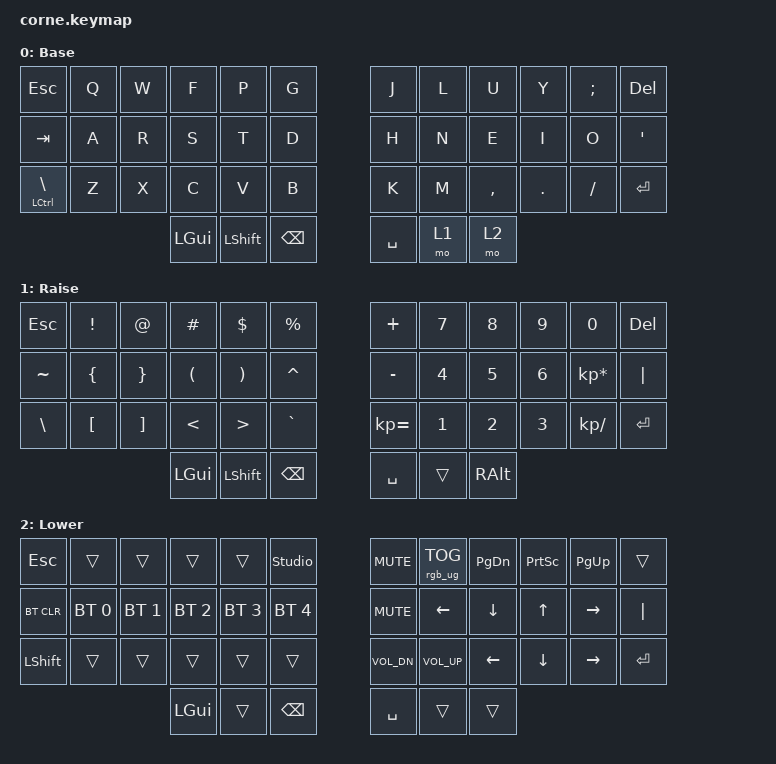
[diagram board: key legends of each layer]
/*
 * Copyright (c) 2020 The ZMK Contributors
 *
 * SPDX-License-Identifier: MIT
 */

#include <behaviors.dtsi>
#include <dt-bindings/zmk/bt.h>
#include <dt-bindings/zmk/keys.h>
#include <dt-bindings/zmk/rgb.h>

/ {
    keymap {
        compatible = "zmk,keymap";

        default_layer {
            // -----------------------------------------------------------------------------------------
            // |  TAB |  Q  |  W  |  E  |  R  |  T  |   |  Y  |  U   |  I  |  O  |  P  | BKSP |
            // | CTRL |  A  |  S  |  D  |  F  |  G  |   |  H  |  J   |  K  |  L  |  ;  |  '   |
            // | SHFT |  Z  |  X  |  C  |  V  |  B  |   |  N  |  M   |  ,  |  .  |  /  | ESC  |
            //                    | GUI | LWR | SPC |   | ENT | RSE  | ALT |

            display-name = "Base";
            bindings = <
&kp ESC                     &kp Q  &kp W  &kp F     &kp P           &kp G            &kp J      &kp L  &kp U      &kp Y       &kp SEMICOLON  &kp DELETE
&kp TAB                     &kp A  &kp R  &kp S     &kp T           &kp D            &kp H      &kp N  &kp E      &kp I       &kp O          &kp SQT
&mt LEFT_CONTROL BACKSLASH  &kp Z  &kp X  &kp C     &kp V           &kp B            &kp K      &kp M  &kp COMMA  &kp PERIOD  &kp SLASH      &kp ENTER
                                          &kp LGUI  &kp LEFT_SHIFT  &kp BACKSPACE    &kp SPACE  &mo 1  &mo 2
            >;
        };

        raise_layer {
            // -----------------------------------------------------------------------------------------
            // |  TAB |  !  |  @  |  #  |  $  |  %  |   |  ^  |  &  |  *  |  (  |  )  | BKSP |
            // | CTRL |     |     |     |     |     |   |  -  |  =  |  [  |  ]  |  \  |  `   |
            // | SHFT |     |     |     |     |     |   |  _  |  +  |  {  |  }  | "|" |  ~   |
            //                    | GUI |     | SPC |   | ENT |     | ALT |

            display-name = "Raise";
            bindings = <
&kp ESCAPE     &kp EXCL          &kp AT             &kp HASH              &kp DLLR               &kp PRCNT        &kp PLUS      &kp N7        &kp N8        &kp N9        &kp NUMBER_0     &kp DELETE
&kp TILDE      &kp LEFT_BRACE    &kp RIGHT_BRACE    &kp LEFT_PARENTHESIS  &kp RIGHT_PARENTHESIS  &kp CARET        &kp MINUS     &kp NUMBER_4  &kp N5        &kp NUMBER_6  &kp KP_ASTERISK  &kp PIPE
&kp BACKSLASH  &kp LEFT_BRACKET  &kp RIGHT_BRACKET  &kp LESS_THAN         &kp GREATER_THAN       &kp GRAVE        &kp KP_EQUAL  &kp NUMBER_1  &kp NUMBER_2  &kp NUMBER_3  &kp KP_DIVIDE    &kp RET
                                                    &kp LGUI              &kp LEFT_SHIFT         &kp BACKSPACE    &kp SPACE     &trans        &kp RALT
            >;
        };

        lower_layer {
            // -----------------------------------------------------------------------------------------
            // |  TAB |  1  |  2  |  3  |  4  |  5  |   |  6  |  7  |  8  |  9  |  0  | BKSP |
            // | BTCLR| BT1 | BT2 | BT3 | BT4 | BT5 |   | LFT | DWN |  UP | RGT |     |      |
            // | SHFT |     |     |     |     |     |   |     |     |     |     |     |      |
            //                    | GUI |     | SPC |   | ENT |     | ALT |

            display-name = "Lower";
            bindings = <
&kp ESCAPE  &trans        &trans        &trans        &trans        &studio_unlock    &kp C_MUTE    &rgb_ug RGB_TOG  &kp PAGE_DOWN   &kp PRINTSCREEN  &kp PAGE_UP  &trans
&bt BT_CLR  &bt BT_SEL 0  &bt BT_SEL 1  &bt BT_SEL 2  &bt BT_SEL 3  &bt BT_SEL 4      &kp C_MUTE    &kp LEFT         &kp DOWN        &kp UP_ARROW     &kp RIGHT    &kp PIPE
&kp LSHFT   &trans        &trans        &trans        &trans        &trans            &kp C_VOL_DN  &kp C_VOLUME_UP  &kp LEFT_ARROW  &kp DOWN         &kp RIGHT    &kp ENTER
                                        &kp LGUI      &trans        &kp BACKSPACE     &kp SPACE     &trans           &trans
            >;
        };

        extra_1 { status = "reserved"; };

        extra_2 { status = "reserved"; };

        extra_3 { status = "reserved"; };
    };
};
